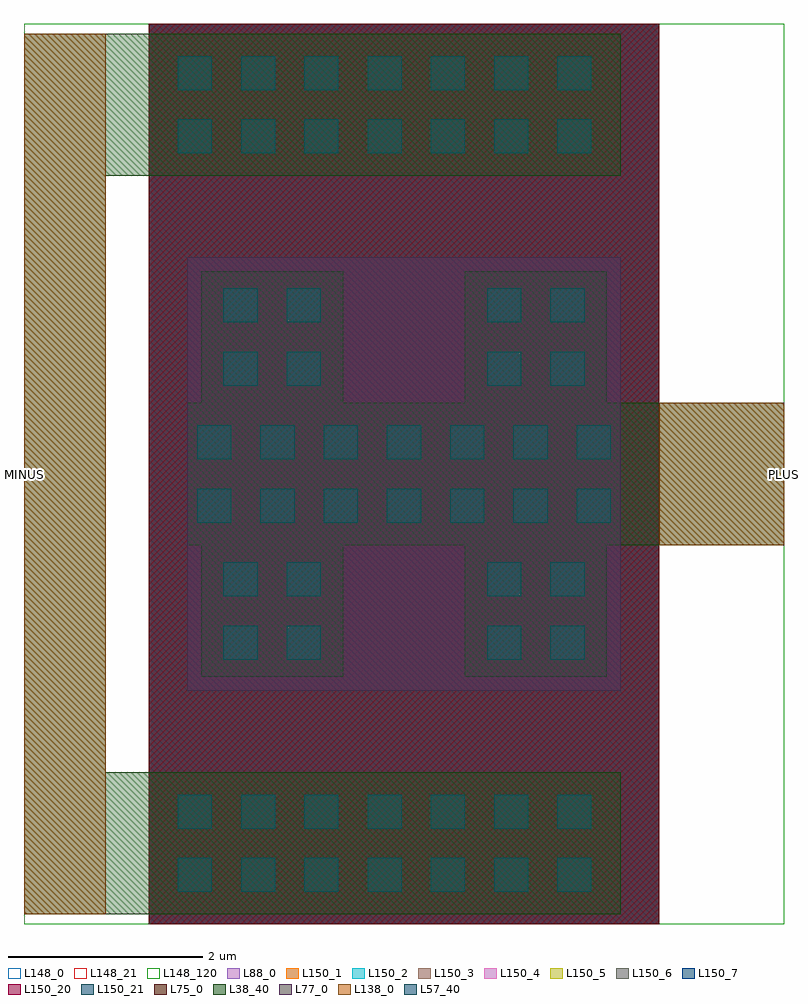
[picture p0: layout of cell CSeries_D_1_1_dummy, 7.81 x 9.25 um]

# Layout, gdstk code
import gdstk
lib = gdstk.Library(unit=1e-6, precision=1e-09)
def R(c, l, rs):  # rectangles x0, y0, x1, y1
    for r in rs: c.add(gdstk.rectangle(r[:2], r[2:], *l))
def A(c, l, x, y, w, h, nx, ny, dx, dy):  # array of equal rectangles
    R(c, l, [(x+i*dx, y+j*dy, x+i*dx+w, y+j*dy+h) for i in range(nx) for j in range(ny)])
L38_40 = (38, 40)
L57_40 = (57, 40)
L75_0 = (75, 0)
L77_0 = (77, 0)
L88_0 = (88, 0)
L138_0 = (138, 0)
L148_0 = (148, 0)
L148_21 = (148, 21)
L148_120 = (148, 120)
L150_1 = (150, 1)
L150_2 = (150, 2)
L150_3 = (150, 3)
L150_4 = (150, 4)
L150_5 = (150, 5)
L150_6 = (150, 6)
L150_7 = (150, 7)
L150_20 = (150, 20)
L150_21 = (150, 21)

cseries_d_1_1_dummy = lib.new_cell('CSeries_D_1_1_dummy')
R(cseries_d_1_1_dummy, L38_40, [(-1.68,-2.3,4.45,-0.84), (-1.68,-0.84,-0.84,5.29), (0.14,0.14,1.6,4.31), (2.85,0.14,4.31,4.31), (0,1.495,6.13,2.955), (-1.68,5.29,4.45,6.75)])
A(cseries_d_1_1_dummy, L57_40, -0.1, -2.07, 0.35, 0.35, 7, 2, 0.65, 0.65)
A(cseries_d_1_1_dummy, L57_40, 0.1, 1.725, 0.35, 0.35, 7, 2, 0.65, 0.65)
A(cseries_d_1_1_dummy, L57_40, -0.1, 5.52, 0.35, 0.35, 7, 2, 0.65, 0.65)
R(cseries_d_1_1_dummy, L57_40, [(0.37,0.318,0.72,0.668), (1.02,0.318,1.37,0.668), (3.08,0.318,3.43,0.668), (3.73,0.318,4.08,0.668), (0.37,0.967,0.72,1.317), (1.02,0.967,1.37,1.317), (3.08,0.967,3.43,1.317), (3.73,0.967,4.08,1.317), (0.37,3.132,0.72,3.482), (1.02,3.132,1.37,3.482), (3.08,3.132,3.43,3.482), (3.73,3.132,4.08,3.482), (0.37,3.782,0.72,4.132), (1.02,3.782,1.37,4.132), (3.08,3.782,3.43,4.132), (3.73,3.782,4.08,4.132)])
R(cseries_d_1_1_dummy, L75_0, [(-0.4,-2.4,4.85,6.85)])
R(cseries_d_1_1_dummy, L77_0, [(0,0,4.45,4.45)])
R(cseries_d_1_1_dummy, L88_0, [(-0.4,-2.4,4.85,6.85)])
R(cseries_d_1_1_dummy, L138_0, [(-1.68,-2.3,-0.84,6.75), (4.85,1.495,6.13,2.955)])
R(cseries_d_1_1_dummy, L148_0, [(-1.68,-2.4,6.13,6.85)])
R(cseries_d_1_1_dummy, L148_21, [(-1.68,-2.4,6.13,6.85)])
R(cseries_d_1_1_dummy, L148_120, [(-1.68,-2.4,6.13,6.85)])
R(cseries_d_1_1_dummy, L150_1, [(-0.4,-2.4,4.85,6.85)])
R(cseries_d_1_1_dummy, L150_2, [(-0.4,-2.4,4.85,6.85)])
R(cseries_d_1_1_dummy, L150_3, [(-0.4,-2.4,4.85,6.85)])
R(cseries_d_1_1_dummy, L150_4, [(-0.4,-2.4,4.85,6.85)])
R(cseries_d_1_1_dummy, L150_5, [(-0.4,-2.4,4.85,6.85)])
R(cseries_d_1_1_dummy, L150_6, [(-0.4,-2.4,4.85,6.85)])
R(cseries_d_1_1_dummy, L150_7, [(-0.4,-2.4,4.85,6.85)])
R(cseries_d_1_1_dummy, L150_20, [(-0.4,-2.4,4.85,6.85)])
R(cseries_d_1_1_dummy, L150_21, [(-0.4,-2.4,4.85,6.85)])
cseries_d_1_1_dummy.add(gdstk.Label('MINUS', (-1.68,2.225), layer=138, texttype=0))
cseries_d_1_1_dummy.add(gdstk.Label('PLUS', (6.13,2.225), layer=138, texttype=0))

lib.write_gds('CSeries_D_1_1_dummy.gds')
